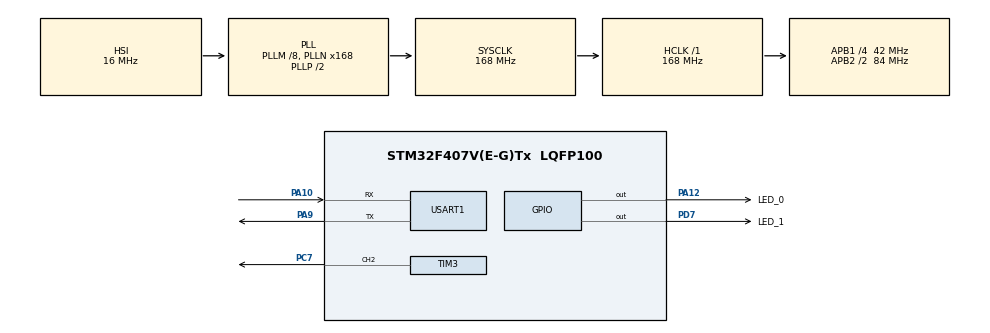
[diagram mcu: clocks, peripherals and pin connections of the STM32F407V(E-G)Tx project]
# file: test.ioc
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Mcu.Family=STM32F4
Mcu.Name=STM32F407V(E-G)Tx
Mcu.Package=LQFP100
NVIC.PriorityGroup=NVIC_PRIORITYGROUP_4
NVIC.TIM7_IRQn=true\:0\:0\:false\:false\:true\:true\:true
NVIC.USART1_IRQn=true\:0\:0\:false\:false\:true\:true\:true
PA10.Mode=Asynchronous
PA10.Signal=USART1_RX
PA12.GPIO_Label=LED_0
PA12.Signal=GPIO_Output
PA13.Mode=Serial_Wire
PA13.Signal=SYS_JTMS-SWDIO
PA14.Mode=Serial_Wire
PA14.Signal=SYS_JTCK-SWCLK
PA9.Mode=Asynchronous
PA9.Signal=USART1_TX
PC7.Signal=S_TIM3_CH2
PD7.GPIO_Label=LED_1
PD7.Signal=GPIO_Output
ProjectManager.HeapSize=0x200
ProjectManager.StackSize=0x400
ProjectManager.TargetToolchain=Makefile
RCC.48MHZClocksFreq_Value=84000000
RCC.AHBFreq_Value=168000000
RCC.APB1CLKDivider=RCC_HCLK_DIV4
RCC.APB1Freq_Value=42000000
RCC.APB1TimFreq_Value=84000000
RCC.APB2CLKDivider=RCC_HCLK_DIV2
RCC.APB2Freq_Value=84000000
RCC.APB2TimFreq_Value=168000000
RCC.CortexFreq_Value=168000000
RCC.HCLKFreq_Value=168000000
RCC.HSE_VALUE=25000000
RCC.HSI_VALUE=16000000
RCC.LSE_VALUE=32768
RCC.PLLM=8
RCC.PLLN=168
RCC.SYSCLKFreq_VALUE=168000000
RCC.SYSCLKSource=RCC_SYSCLKSOURCE_PLLCLK
RCC.VCOOutputFreq_Value=336000000
SH.S_TIM3_CH2.0=TIM3_CH2,PWM Generation2 CH2
TIM14.Period=4999
TIM14.Prescaler=8399
TIM3.Channel-PWM\ Generation2\ CH2=TIM_CHANNEL_2
TIM3.Period=49
TIM3.Prescaler=839
TIM3.Pulse-PWM\ Generation2\ CH2=99
TIM7.AutoReloadPreload=TIM_AUTORELOAD_PRELOAD_DISABLE
TIM7.Period=4999
TIM7.Prescaler=8399
USART1.VirtualMode=VM_ASYNC
VP_TIM14_VS_ClockSourceINT.Mode=Enable_Timer
VP_TIM7_VS_ClockSourceINT.Mode=Enable_Timer
board=custom

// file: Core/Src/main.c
/* USER CODE BEGIN Header */
/**
  ******************************************************************************
  * @file           : main.c
  * @brief          : Main program body
  ******************************************************************************
  * @attention
  *
  * Copyright (c) 2022 STMicroelectronics.
  * All rights reserved.
  *
  * This software is licensed under terms that can be found in the LICENSE file
  * in the root directory of this software component.
  * If no LICENSE file comes with this software, it is provided AS-IS.
  *
  ******************************************************************************
  */
/* USER CODE END Header */
#include <stdarg.h>
#include <stdio.h>

#include "main.h"

TIM_HandleTypeDef htim3;
TIM_HandleTypeDef htim7;
TIM_HandleTypeDef htim14;

UART_HandleTypeDef huart1;

void SystemClock_Config(void);
static void MX_GPIO_Init(void);
static void MX_TIM7_Init(void);
static void MX_TIM14_Init(void);
static void MX_TIM3_Init(void);
static void MX_USART1_UART_Init(void);

/* USER CODE BEGIN 0 */
void HAL_TIM_PeriodElapsedCallback(TIM_HandleTypeDef *htim)
{
	if(htim->Instance == TIM14)
	{
		HAL_GPIO_TogglePin(LED_0_GPIO_Port, LED_0_Pin);
	}

}

char SCIx_RxChar(void)
{
	volatile UART_HandleTypeDef *USARTx = &huart1;

    while((USARTx->Instance->SR & UART_FLAG_RXNE) == RESET);   //wait for Rx Not Empty flag
    return (uint16_t)(USARTx->Instance->DR & (uint16_t)0x01FF); //read from DR register
}

void SCIx_TxChar(char Data)
{
	volatile UART_HandleTypeDef *USARTx = &huart1;

    USARTx->Instance->DR = (Data & (uint16_t)0x01FF);         //write to DR register
    while((USARTx->Instance->SR & UART_FLAG_TXE) == RESET);  //wait for Tx Empty flag
}

void SCIx_TxString(char *Str)
{
    while(*Str)
    {
        if(*Str == '\n'){
            SCIx_TxChar('\r');
        }

        SCIx_TxChar( *Str++ );
    }
}

void TxPrintf(char *Form, ... )
{
	static char Buff[128];
	va_list ArgPtr;
	va_start(ArgPtr,Form);
	vsprintf(Buff, Form, ArgPtr);
    va_end(ArgPtr);
    SCIx_TxString(Buff);
}

/* USER CODE END 0 */

int main(void)
{

  /* MCU Configuration--------------------------------------------------------*/

  /* Reset of all peripherals, Initializes the Flash interface and the Systick. */
  HAL_Init();

  /* Configure the system clock */
  SystemClock_Config();

  /* Initialize all configured peripherals */
  MX_GPIO_Init();
  MX_TIM7_Init();
  MX_TIM14_Init();
  MX_TIM3_Init();
  MX_USART1_UART_Init();
  /* USER CODE BEGIN 2 */

  HAL_TIM_Base_Start_IT(&htim14);
  HAL_TIM_PWM_Start(&htim3, TIM_CHANNEL_2);

  /* USER CODE END 2 */
  /* Infinite loop */
  /* USER CODE BEGIN WHILE */
  while (1)
  {
	  //HAL_GPIO_TogglePin(LED_1_GPIO_Port, LED_1_Pin);

	  TxPrintf("HELLO\n");
	  HAL_Delay(1000);

    /* USER CODE END WHILE */

  }
}

void SystemClock_Config(void)
{
  RCC_OscInitTypeDef RCC_OscInitStruct = {0};
  RCC_ClkInitTypeDef RCC_ClkInitStruct = {0};

  /** Configure the main internal regulator output voltage
  */
  __HAL_RCC_PWR_CLK_ENABLE();
  __HAL_PWR_VOLTAGESCALING_CONFIG(PWR_REGULATOR_VOLTAGE_SCALE1);
  /** Initializes the RCC Oscillators according to the specified parameters
  * in the RCC_OscInitTypeDef structure.
  */
  RCC_OscInitStruct.OscillatorType = RCC_OSCILLATORTYPE_HSI;
  RCC_OscInitStruct.HSIState = RCC_HSI_ON;
  RCC_OscInitStruct.HSICalibrationValue = RCC_HSICALIBRATION_DEFAULT;
  RCC_OscInitStruct.PLL.PLLState = RCC_PLL_ON;
  RCC_OscInitStruct.PLL.PLLSource = RCC_PLLSOURCE_HSI;
  RCC_OscInitStruct.PLL.PLLM = 8;
  RCC_OscInitStruct.PLL.PLLN = 168;
  RCC_OscInitStruct.PLL.PLLP = RCC_PLLP_DIV2;
  RCC_OscInitStruct.PLL.PLLQ = 4;
  if (HAL_RCC_OscConfig(&RCC_OscInitStruct) != HAL_OK)
  {
    Error_Handler();
  }
  /** Initializes the CPU, AHB and APB buses clocks
  */
  RCC_ClkInitStruct.ClockType = RCC_CLOCKTYPE_HCLK|RCC_CLOCKTYPE_SYSCLK
                              |RCC_CLOCKTYPE_PCLK1|RCC_CLOCKTYPE_PCLK2;
  RCC_ClkInitStruct.SYSCLKSource = RCC_SYSCLKSOURCE_PLLCLK;
  RCC_ClkInitStruct.AHBCLKDivider = RCC_SYSCLK_DIV1;
  RCC_ClkInitStruct.APB1CLKDivider = RCC_HCLK_DIV4;
  RCC_ClkInitStruct.APB2CLKDivider = RCC_HCLK_DIV2;

  if (HAL_RCC_ClockConfig(&RCC_ClkInitStruct, FLASH_LATENCY_5) != HAL_OK)
  {
    Error_Handler();
  }
}

static void MX_TIM3_Init(void)
{

  TIM_MasterConfigTypeDef sMasterConfig = {0};
  TIM_OC_InitTypeDef sConfigOC = {0};

  htim3.Instance = TIM3;
  htim3.Init.Prescaler = 839;
  htim3.Init.CounterMode = TIM_COUNTERMODE_UP;
  htim3.Init.Period = 49;
  htim3.Init.ClockDivision = TIM_CLOCKDIVISION_DIV1;
  htim3.Init.AutoReloadPreload = TIM_AUTORELOAD_PRELOAD_DISABLE;
  if (HAL_TIM_PWM_Init(&htim3) != HAL_OK)
  {
    Error_Handler();
  }
  sMasterConfig.MasterOutputTrigger = TIM_TRGO_RESET;
  sMasterConfig.MasterSlaveMode = TIM_MASTERSLAVEMODE_DISABLE;
  if (HAL_TIMEx_MasterConfigSynchronization(&htim3, &sMasterConfig) != HAL_OK)
  {
    Error_Handler();
  }
  sConfigOC.OCMode = TIM_OCMODE_PWM1;
  sConfigOC.Pulse = 99;
  sConfigOC.OCPolarity = TIM_OCPOLARITY_HIGH;
  sConfigOC.OCFastMode = TIM_OCFAST_DISABLE;
  if (HAL_TIM_PWM_ConfigChannel(&htim3, &sConfigOC, TIM_CHANNEL_2) != HAL_OK)
  {
    Error_Handler();
  }
  HAL_TIM_MspPostInit(&htim3);

}

static void MX_TIM7_Init(void)
{

  TIM_MasterConfigTypeDef sMasterConfig = {0};

  htim7.Instance = TIM7;
  htim7.Init.Prescaler = 8399;
  htim7.Init.CounterMode = TIM_COUNTERMODE_UP;
  htim7.Init.Period = 4999;
  htim7.Init.AutoReloadPreload = TIM_AUTORELOAD_PRELOAD_DISABLE;
  if (HAL_TIM_Base_Init(&htim7) != HAL_OK)
  {
    Error_Handler();
  }
  sMasterConfig.MasterOutputTrigger = TIM_TRGO_RESET;
  sMasterConfig.MasterSlaveMode = TIM_MASTERSLAVEMODE_DISABLE;
  if (HAL_TIMEx_MasterConfigSynchronization(&htim7, &sMasterConfig) != HAL_OK)
  {
    Error_Handler();
  }

}

static void MX_TIM14_Init(void)
{

  htim14.Instance = TIM14;
  htim14.Init.Prescaler = 8399;
  htim14.Init.CounterMode = TIM_COUNTERMODE_UP;
  htim14.Init.Period = 4999;
  htim14.Init.ClockDivision = TIM_CLOCKDIVISION_DIV1;
  htim14.Init.AutoReloadPreload = TIM_AUTORELOAD_PRELOAD_DISABLE;
  if (HAL_TIM_Base_Init(&htim14) != HAL_OK)
  {
    Error_Handler();
  }

}

static void MX_USART1_UART_Init(void)
{

  huart1.Instance = USART1;
  huart1.Init.BaudRate = 115200;
  huart1.Init.WordLength = UART_WORDLENGTH_8B;
  huart1.Init.StopBits = UART_STOPBITS_1;
  huart1.Init.Parity = UART_PARITY_NONE;
  huart1.Init.Mode = UART_MODE_TX_RX;
  huart1.Init.HwFlowCtl = UART_HWCONTROL_NONE;
  huart1.Init.OverSampling = UART_OVERSAMPLING_16;
  if (HAL_UART_Init(&huart1) != HAL_OK)
  {
    Error_Handler();
  }

}

static void MX_GPIO_Init(void)
{
  GPIO_InitTypeDef GPIO_InitStruct = {0};

  /* GPIO Ports Clock Enable */
  __HAL_RCC_GPIOC_CLK_ENABLE();
  __HAL_RCC_GPIOA_CLK_ENABLE();
  __HAL_RCC_GPIOD_CLK_ENABLE();

  /*Configure GPIO pin Output Level */
  HAL_GPIO_WritePin(LED_0_GPIO_Port, LED_0_Pin, GPIO_PIN_RESET);

  /*Configure GPIO pin Output Level */
  HAL_GPIO_WritePin(LED_1_GPIO_Port, LED_1_Pin, GPIO_PIN_RESET);

  /*Configure GPIO pin : LED_0_Pin */
  GPIO_InitStruct.Pin = LED_0_Pin;
  GPIO_InitStruct.Mode = GPIO_MODE_OUTPUT_PP;
  GPIO_InitStruct.Pull = GPIO_NOPULL;
  GPIO_InitStruct.Speed = GPIO_SPEED_FREQ_LOW;
  HAL_GPIO_Init(LED_0_GPIO_Port, &GPIO_InitStruct);

  /*Configure GPIO pin : LED_1_Pin */
  GPIO_InitStruct.Pin = LED_1_Pin;
  GPIO_InitStruct.Mode = GPIO_MODE_OUTPUT_PP;
  GPIO_InitStruct.Pull = GPIO_NOPULL;
  GPIO_InitStruct.Speed = GPIO_SPEED_FREQ_LOW;
  HAL_GPIO_Init(LED_1_GPIO_Port, &GPIO_InitStruct);

}

void Error_Handler(void)
{
  __disable_irq();
  while (1)
  {
  }
}
